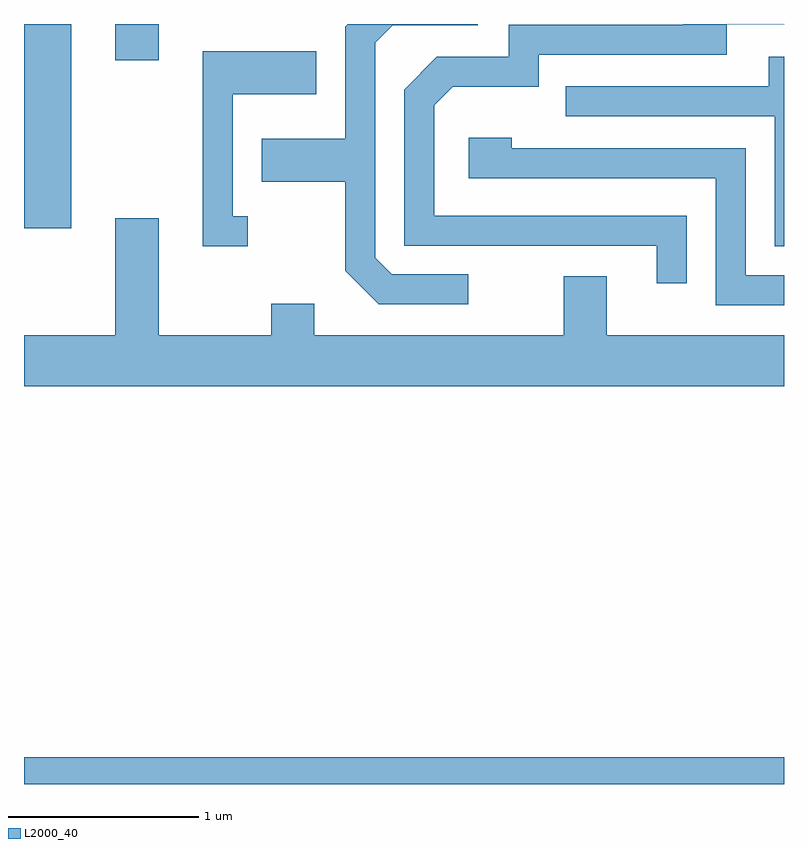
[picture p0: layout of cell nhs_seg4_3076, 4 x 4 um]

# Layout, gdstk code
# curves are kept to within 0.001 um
import gdstk
lib = gdstk.Library(unit=1e-6, precision=1e-09)
def R(c, l, rs):  # rectangles x0, y0, x1, y1
    for r in rs: c.add(gdstk.rectangle(r[:2], r[2:], *l))
def P(c, l, *ps):  # polygons
    for p in ps: c.add(gdstk.Polygon(p, *l))
L2000_40 = (2000, 40)

nhs_seg4_3076 = lib.new_cell('nhs_seg4_3076')
R(nhs_seg4_3076, L2000_40, [(275.611,1285.982,279.611,1286.124), (275.611,1288.906,275.859,1289.982), (276.091,1289.791,276.319,1289.982)])
P(nhs_seg4_3076, L2000_40, [(279.099,1288.974),(277.769,1288.974),(277.769,1289.554),(277.867,1289.651),(278.319,1289.651),(278.319,1289.821),(279.309,1289.821),(279.309,1289.981),(279.611,1289.982),(279.081,1289.982),(279.081,1289.979),(278.161,1289.979),(278.161,1289.809),(277.784,1289.809),(277.611,1289.637),(277.611,1288.816),(278.941,1288.816),(278.941,1288.618),(279.099,1288.618)],
  [(277.948,1288.664),(277.547,1288.664),(277.459,1288.752),(277.459,1289.884),(277.552,1289.976),(277.998,1289.976),(277.998,1289.982),(277.316,1289.982),(277.301,1289.967),(277.301,1289.379),(276.861,1289.379),(276.861,1289.151),(277.301,1289.151),(277.301,1288.684),(277.479,1288.506),(277.948,1288.506)],
  [(276.788,1288.969),(276.709,1288.969),(276.709,1289.611),(277.149,1289.611),(277.149,1289.839),(276.551,1289.839),(276.551,1288.811),(276.788,1288.811)],
  [(279.611,1289.809),(279.531,1289.809),(279.531,1289.654),(278.463,1289.654),(278.463,1289.496),(279.561,1289.496),(279.561,1288.811),(279.611,1288.811)],
  [(279.611,1288.659),(279.409,1288.659),(279.409,1289.329),(278.179,1289.329),(278.179,1289.384),(277.951,1289.384),(277.951,1289.171),(279.251,1289.171),(279.251,1288.501),(279.611,1288.501)],
  [(279.611,1288.344),(278.679,1288.344),(278.679,1288.654),(278.451,1288.654),(278.451,1288.344),(277.139,1288.344),(277.139,1288.509),(276.911,1288.509),(276.911,1288.344),(276.319,1288.344),(276.319,1288.959),(276.091,1288.959),(276.091,1288.344),(275.611,1288.344),(275.611,1288.076),(279.611,1288.076)])

lib.write_gds('nhs_seg4_3076.gds')
